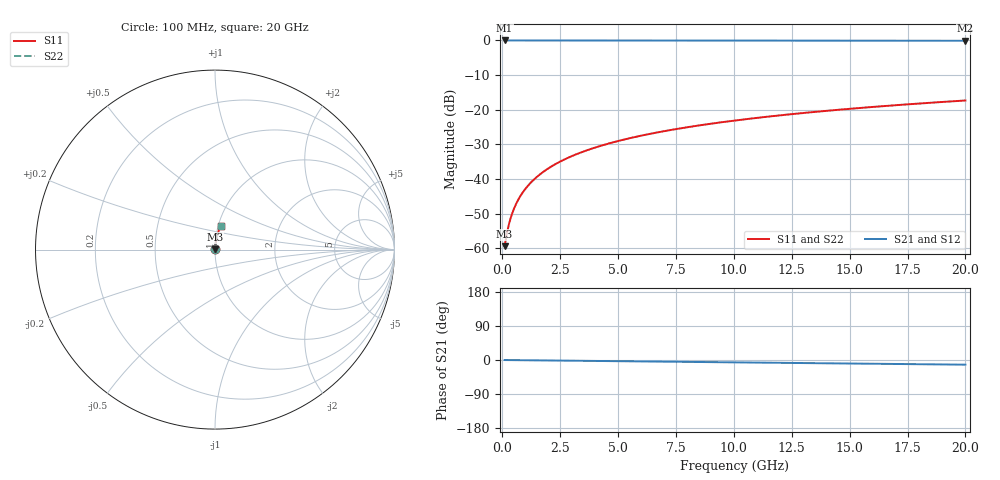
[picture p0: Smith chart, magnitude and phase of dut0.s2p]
! Touchstone file exported from HFSS 2026.1.0
!  File:  C:/ffzhzh/LocalFiles/Ansys_Project_Files/temp_test_TSV_0_1782977767_45748.aedt
!  Generated:  03:38:44 PM Jul  2, 2026
!  Design:  TSV
!  Project:  temp_test_TSV_0_1782977767_45748
! Variables:
!  h_bsmrdl = 2um
!  h_ox = 20um
!  h_rdl = 5um
!  h_sub = 91.77um
!  h_tmrdl = 5um
!  h_tsv = 91.77um
!  h_via = 3um
!  l_bsmrdl = 300um
!  l_sub = 407.42um
!  l_tmrdl = 200um
!  m_sub = 200um
!  pitch = 53.46um
!  r_tsv = 3.71um
!  s_tmrdl = 10um
!  w_bsmrdl = 18um
!  w_sub = 500um
!  w_tmrdl = 12um
!  x_tsv_center1 = 206um
!  x_tsv_center2 = 524um
!  x_tsv_center3 = 736um
!  x_tsv_center4 = 1054um
!  x_tsv_center5 = 1266um
!  x_tsv_center6 = 1584um
# GHz S MA R 50.000000
! Terminal data exported
! Port[1] = TSV1_1_T1
! Port[2] = TSV1_1_T2
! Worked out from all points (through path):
!   200 points, 100 MHz to 20 GHz, reference 50 ohm
!   highest |S21| = -0.01 dB at 100 MHz (marker M1); lowest = -0.1 dB at 20 GHz (marker M2)
!   group delay of S21, straight-line fit = 1.71 ps
!   lowest |S11| = -59.4 dB at 100 MHz (marker M3), VSWR 1.00, Z = 50.1 + j0.0728 ohm
!   |S11| at or under -10 dB: start of sweep to end of sweep
!   |S22| runs from -59.4 to -17.3 dB; largest |S21 - S12| = 5.3e-15
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0.1  0.001071 42.7  0.9992 -0.1  0.9992 -0.1  0.001071 42.7
! Gamma 0 0 0 0
! Port Impedance 50 0 50 0
0.2  0.001655 61.2  0.9992 -0.1  0.9992 -0.1  0.001655 61.2
0.3  0.002316 69.5  0.9992 -0.2  0.9992 -0.2  0.002316 69.5
0.4  0.003 74.0  0.9992 -0.3  0.9992 -0.3  0.003 74.0
0.5  0.003695 76.8  0.9992 -0.3  0.9992 -0.3  0.003695 76.8
0.6  0.004394 78.7  0.9992 -0.4  0.9992 -0.4  0.004394 78.7
0.8  0.005802 81.1  0.9991 -0.5  0.9991 -0.5  0.005802 81.1
1.1  0.007924 83.0  0.9991 -0.7  0.9991 -0.7  0.007924 83.0
1.5  0.01076 84.2  0.999 -1.0  0.999 -1.0  0.01076 84.2
1.8  0.01289 84.6  0.999 -1.1  0.999 -1.1  0.01289 84.6
2.1  0.01501 84.9  0.9989 -1.3  0.9989 -1.3  0.01501 84.9
2.7  0.01925 85.1  0.9987 -1.7  0.9987 -1.7  0.01925 85.1
3.5  0.02487 85.0  0.9985 -2.2  0.9985 -2.2  0.02487 85.0
4.2  0.02976 84.8  0.9982 -2.6  0.9982 -2.6  0.02976 84.8
5  0.03531 84.5  0.9979 -3.1  0.9979 -3.1  0.03531 84.5
5.9  0.04152 84.0  0.9975 -3.7  0.9975 -3.7  0.04152 84.0
6.8  0.0477 83.6  0.9971 -4.3  0.9971 -4.3  0.0477 83.6
8.3  0.05794 82.8  0.9963 -5.2  0.9963 -5.2  0.05794 82.8
10.1  0.07014 81.9  0.9953 -6.3  0.9953 -6.3  0.07014 81.9
13.4  0.09232 80.1  0.9932 -8.3  0.9932 -8.3  0.09232 80.1
16.7  0.1142 78.2  0.9906 -10.3  0.9906 -10.3  0.1142 78.3
20  0.1358 76.4  0.9876 -12.3  0.9876 -12.3  0.1358 76.4
